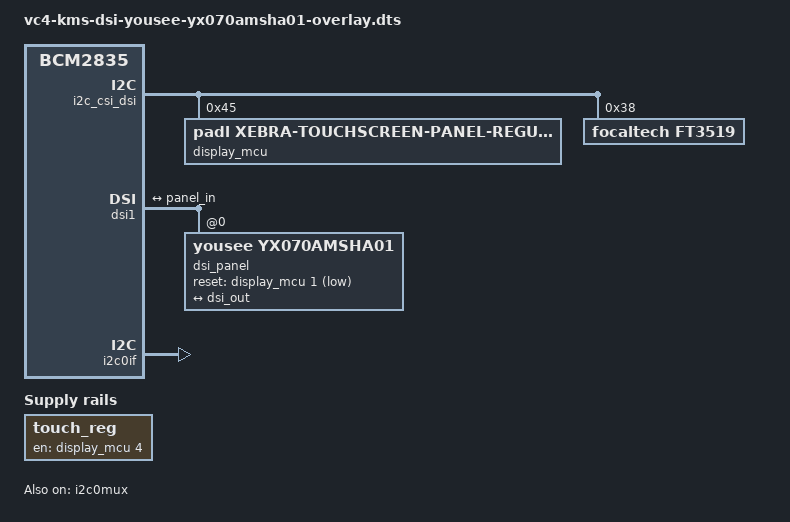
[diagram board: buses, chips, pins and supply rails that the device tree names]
/*
 * vc4-kms-dsi-yousee-yx070amsha01-overlay.dts
 *
 * Yousee YX070AMSHA01 touchscreen display panel
 */

/dts-v1/;
/plugin/;

#include <dt-bindings/gpio/gpio.h>

/*
 * Note: the ft3519 driver can also take a reset-gpio (active low, i.e.
 * it sets the value to zero to bring the value high). So we could likely
 * do away with touch_reg.
 */

/ {
	compatible = "brcm,bcm2835";

	i2c_frag: fragment@0 {
		target = <&i2c_csi_dsi>;
		__overlay__ {
			#address-cells = <1>;
			#size-cells = <0>;
			status = "okay";

			display_mcu: display_mcu@45 {
				compatible = "padl,xebra-touchscreen-panel-regulator";
				reg = <0x45>;
				gpio-controller;
				#gpio-cells = <2>;
			};

			ft3519: ft3519@38 {
				compatible = "focaltech,ft3519";
				reg = <0x38>;
				touchscreen-size-x = <1080>;
				touchscreen-size-y = <1920>;
				touchscreen-x-mm = <87>;
				touchscreen-y-mm = <155>;
			};
		};
	};

	dsi_frag: fragment@1 {
		target = <&dsi1>;
		__overlay__ {
			#address-cells = <1>;
			#size-cells = <0>;
			status = "okay";

			port {
				dsi_out: endpoint {
					remote-endpoint = <&panel_in>;
				};
			};

			dsi_panel: dsi_panel@0 {
				reg = <0>;
				compatible = "yousee,yx070amsha01";
				reset-gpio = <&display_mcu 1 GPIO_ACTIVE_LOW>; /* LCD_RST */

				port {
					panel_in: endpoint {
						remote-endpoint = <&dsi_out>;
					};
				};
			};
		};
	};

	fragment@2 {
		target = <&i2c0if>;
		__overlay__ {
			status = "okay";
		};
	};

	fragment@3 {
		target = <&i2c0mux>;
		__overlay__ {
			status = "okay";
		};
	};

	fragment@4 {
		target-path = "/";
		__overlay__ {
			touch_reg: touch_reg@1 {
				reg = <1>;
				compatible = "regulator-fixed";
				regulator-name = "touch_reg_1";
				gpio = <&display_mcu 4 GPIO_ACTIVE_HIGH>;
				startup-delay-us = <50000>;
				enable-active-high;
			};
		};
	};

	fragment@10 {
		target = <&ft3519>;
		__dormant__ {
			touchscreen-inverted-x;
		};
	};

	fragment@11 {
		target = <&ft3519>;
		__dormant__ {
			touchscreen-inverted-y;
		};
	};

	__overrides__ {
		dsi0 = <&dsi_frag>, "target:0=",<&dsi0>,
		       <&i2c_frag>, "target:0=",<&i2c_csi_dsi0>,
		       <&touch_reg>, "reg:0=0",
		       <&touch_reg>, "regulator-name=touch_reg_0";
		invx = <0>, "-10";
		invy = <0>, "-11";
		sizex = <&ft3519>,"touchscreen-size-x:0";
		sizey = <&ft3519>,"touchscreen-size-y:0";
		swapxy = <&ft3519>,"touchscreen-swapped-x-y?";
		disable_touch = <&ft3519>, "status=disabled";
	};
};
